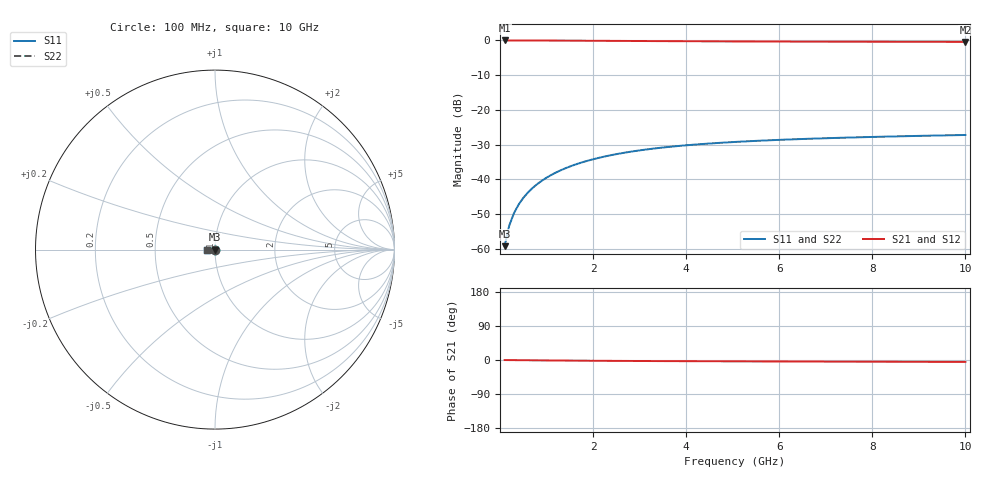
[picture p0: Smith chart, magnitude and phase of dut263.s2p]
! Touchstone file exported from HFSS 2024.1.0
!  File:  C:/UserFiles/LocalFiles/RDL_TSV_Batchsim/temp_TSV1_263_1779391690.aedt
!  Generated:  03:33:39 AM May 22, 2026
!  Design:  TSV1
!  Project:  temp_TSV1_263_1779391690
!  Setup:  Setup1
!  Solution:  Sweep
! Variables:
!  dtsv = 8.78um
!  hbump = 3um
!  htsv = 80.41um
!  lrdl = 252.1521522um
!  p = 40
!  p1 = 44.68um
!  t = 500um
!  trdl = 3um
!  wrdl = 24.89489489um
# GHz S MA R 50.000000
! Terminal data exported
! Port[1] = TSV22_T1
! Port[2] = TSV22_T2
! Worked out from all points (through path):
!   100 points, 100 MHz to 10 GHz, reference 50 ohm
!   highest |S21| = 0.00 dB at 100 MHz (marker M1); lowest = -0.4 dB at 10 GHz (marker M2)
!   lowest |S11| = -59.2 dB at 100 MHz (marker M3), VSWR 1.00, Z = 50 - j0.109 ohm
!   |S11| at or under -10 dB: start of sweep to end of sweep
!   |S22| runs from -59.2 to -27.2 dB; largest |S21 - S12| = 9.7e-15
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0.1  0.001099 -81.7  0.9998 -0.1  0.9998 -0.1  0.001099 -81.7
! Gamma 0 0 0 0
! Port Impedance 50 0 50 0
0.2  0.002179 -88.1  0.9997 -0.2  0.9997 -0.2  0.002179 -88.1
0.3  0.003266 -91.4  0.9995 -0.3  0.9995 -0.3  0.003266 -91.4
0.4  0.004349 -93.9  0.9992 -0.5  0.9992 -0.5  0.004349 -93.9
0.5  0.005425 -96.1  0.9989 -0.6  0.9989 -0.6  0.005425 -96.1
0.6  0.00649 -98.2  0.9986 -0.7  0.9986 -0.7  0.00649 -98.2
0.7  0.007543 -100.1  0.9982 -0.8  0.9982 -0.8  0.007543 -100.1
0.8  0.008583 -101.9  0.9977 -0.9  0.9977 -0.9  0.008583 -101.9
0.9  0.009606 -103.7  0.9972 -1.0  0.9972 -1.0  0.009606 -103.7
1.1  0.0116 -107.1  0.9961 -1.2  0.9961 -1.2  0.0116 -107.1
1.4  0.01445 -112.0  0.9941 -1.5  0.9941 -1.5  0.01445 -112.0
1.6  0.01624 -115.1  0.9926 -1.7  0.9926 -1.7  0.01624 -115.1
1.8  0.01793 -118.0  0.9911 -1.8  0.9911 -1.8  0.01793 -118.0
2.1  0.02031 -122.3  0.9887 -2.1  0.9887 -2.1  0.02031 -122.3
2.5  0.02315 -127.5  0.9854 -2.3  0.9854 -2.3  0.02315 -127.5
2.9  0.02565 -132.4  0.9822 -2.6  0.9822 -2.6  0.02565 -132.4
3.4  0.02834 -137.9  0.9784 -2.8  0.9784 -2.8  0.02834 -137.9
4.2  0.03182 -145.7  0.9731 -3.2  0.9731 -3.2  0.03182 -145.7
5.1  0.03482 -153.1  0.9682 -3.5  0.9682 -3.5  0.03482 -153.1
6.7  0.03865 -163.9  0.9618 -4.1  0.9618 -4.1  0.03865 -163.9
8.4  0.04153 -173.0  0.9572 -4.6  0.9572 -4.6  0.04153 -173.0
10  0.04369 179.8  0.9542 -5.1  0.9542 -5.1  0.04368 179.8
